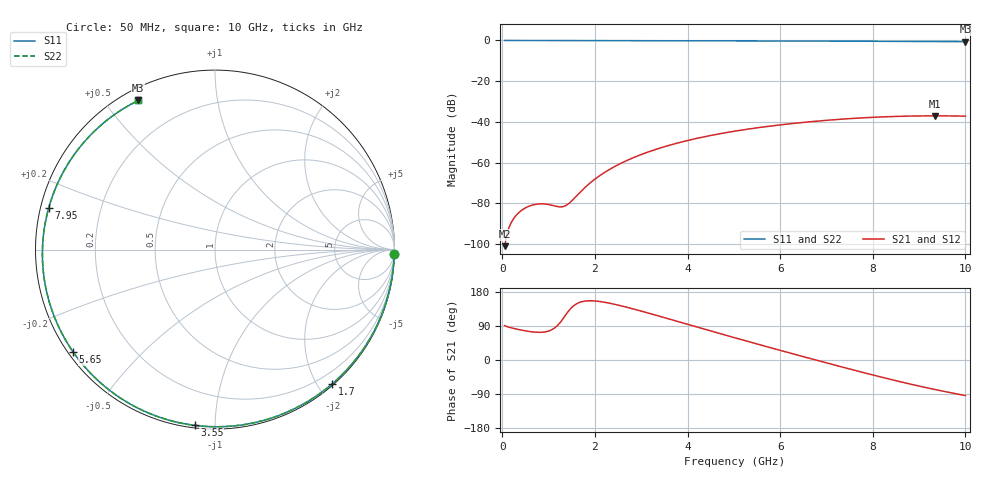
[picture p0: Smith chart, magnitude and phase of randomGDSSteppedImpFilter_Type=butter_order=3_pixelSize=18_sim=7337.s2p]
! freq	dB(S11)	phase(S11)	dB(S12)	phase(S12)
!  dB(S21)	phase(S21)	dB(S22)	phase(S22)
!S-par simulation data
#  GHz  S  DB  R 50
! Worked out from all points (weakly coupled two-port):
!   200 points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, 50 MHz to 10 GHz, reference 50 ohm
!   highest |S21| = -37.01 dB at 9.35 GHz (marker M1); lowest = -101.0 dB at 50 MHz (marker M2)
!   lowest |S11| = -0.6 dB at 10 GHz (marker M3), VSWR 29.43, Z = 2.33 + j30.5 ohm
!   |S11| at or under -10 dB: nowhere
!   |S22| runs from -0.6 to 0.0 dB; largest |S21 - S12| = 0
!   S11 on the Smith chart (normalised r, x): 50 MHz: 1, -80; 1.7 GHz: 0.02, -2.20; 3.55 GHz: 0.01, -0.89; 5.65 GHz: 0.01, -0.32; 7.95 GHz: 0.02, +0.12; 10 GHz: 0.05, +0.61
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0.05  -0.00 -1.4  -100.96 90.7  -100.96 90.7  -0.00 -1.4
0.7  -0.03 -20.5  -80.52 73.6  -80.52 73.6  -0.03 -20.5
1.4  -0.05 -40.5  -80.64 124.2  -80.64 124.2  -0.05 -40.5
1.45  -0.05 -41.9  -79.76 132.0  -79.76 132.0  -0.05 -41.9
1.7  -0.06 -48.8  -74.02 153.3  -74.02 153.3  -0.06 -48.8
1.75  -0.06 -50.2  -72.91 154.8  -72.91 154.8  -0.06 -50.2
2.05  -0.07 -58.4  -67.21 155.2  -67.21 155.2  -0.07 -58.4
2.45  -0.09 -69.0  -61.59 146.3  -61.59 146.3  -0.09 -69.0
2.9  -0.10 -80.6  -56.87 132.4  -56.87 132.4  -0.10 -80.6
3.4  -0.12 -93.0  -52.84 115.3  -52.84 115.3  -0.12 -93.0
3.55  -0.12 -96.6  -51.81 110.1  -51.81 110.1  -0.12 -96.6
4.25  -0.15 -113.1  -47.80 85.5  -47.80 85.5  -0.15 -113.1
5.05  -0.19 -131.1  -44.40 57.7  -44.40 57.7  -0.19 -131.1
5.65  -0.22 -144.3  -42.42 37.2  -42.42 37.2  -0.22 -144.3
6.2  -0.26 -156.1  -40.93 18.8  -40.93 18.8  -0.26 -156.1
6.7  -0.29 -166.8  -39.79 2.3  -39.79 2.3  -0.29 -166.8
7.35  -0.35 179.1  -38.59 -18.9  -38.59 -18.9  -0.35 179.1
7.95  -0.40 165.9  -37.78 -38.0  -37.78 -38.0  -0.40 165.9
8.35  -0.43 156.9  -37.39 -50.2  -37.39 -50.2  -0.43 156.9
8.85  -0.48 145.4  -37.10 -64.7  -37.10 -64.7  -0.48 145.4
9.35  -0.53 133.4  -37.01 -78.1  -37.01 -78.1  -0.53 133.4
10  -0.59 117.2  -37.14 -93.8  -37.14 -93.8  -0.59 117.2
